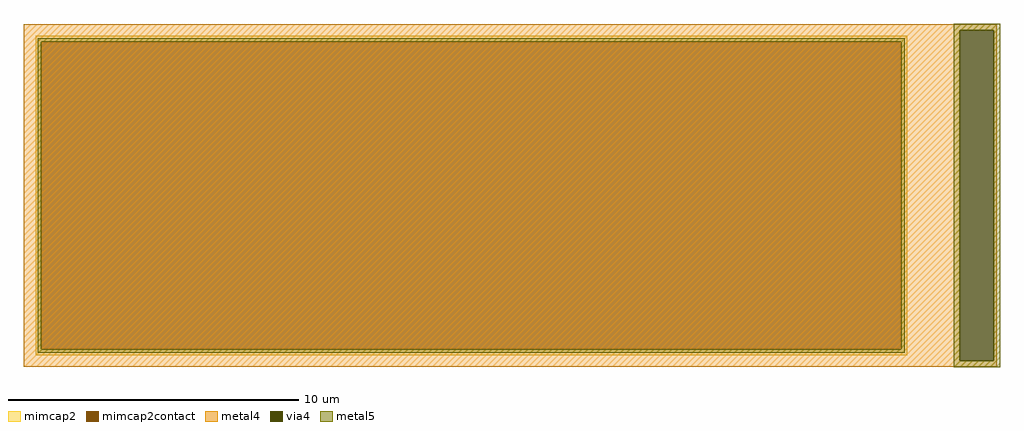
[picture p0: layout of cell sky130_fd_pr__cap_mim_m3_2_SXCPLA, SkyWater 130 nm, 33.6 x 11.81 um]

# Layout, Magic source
magic
tech sky130A
magscale 1 2
<< metal4 >>
rect -3349 1139 3349 1180
rect -3349 -1139 3093 1139
rect 3329 -1139 3349 1139
rect -3349 -1180 3349 -1139
<< via4 >>
rect 3093 -1139 3329 1139
<< mimcap2 >>
rect -3269 1060 2731 1100
rect -3269 -1060 -3229 1060
rect 2691 -1060 2731 1060
rect -3269 -1100 2731 -1060
<< mimcap2contact >>
rect -3229 -1060 2691 1060
<< metal5 >>
rect 3051 1139 3371 1181
rect -3253 1060 2715 1084
rect -3253 -1060 -3229 1060
rect 2691 -1060 2715 1060
rect -3253 -1084 2715 -1060
rect 3051 -1139 3093 1139
rect 3329 -1139 3371 1139
rect 3051 -1181 3371 -1139
<< properties >>
string FIXED_BBOX -3349 -1180 2811 1180
string gencell sky130_fd_pr__cap_mim_m3_2
string library sky130
string parameters w 30 l 11 val 675.58 carea 2.00 cperi 0.19 nx 1 ny 1 dummy 0 square 0 lmin 2.00 wmin 2.00 lmax 30.0 wmax 30.0 dc 0 bconnect 1 tconnect 1 ccov 100
<< end >>
